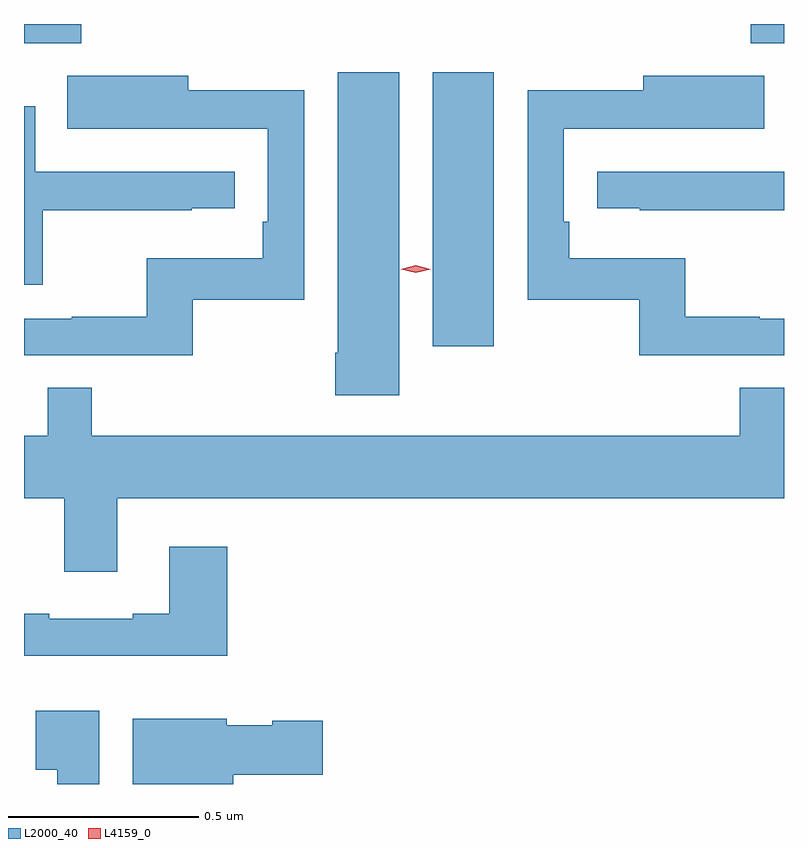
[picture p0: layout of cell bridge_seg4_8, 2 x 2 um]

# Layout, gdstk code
import gdstk
lib = gdstk.Library(unit=1e-6, precision=1e-09)
def R(c, l, rs):  # rectangles x0, y0, x1, y1
    for r in rs: c.add(gdstk.rectangle(r[:2], r[2:], *l))
def P(c, l, *ps):  # polygons
    for p in ps: c.add(gdstk.Polygon(p, *l))
L2000_40 = (2000, 40)
L4159_0 = (4159, 0)

bridge_seg4_8 = lib.new_cell('bridge_seg4_8')
R(bridge_seg4_8, L2000_40, [(1130.612,791.892,1130.773,792.613), (1129.537,792.689,1129.688,792.74), (1131.449,792.689,1131.537,792.74)])
P(bridge_seg4_8, L2000_40, [(1130.524,792.613),(1130.363,792.613),(1130.363,791.875),(1130.356,791.875),(1130.356,791.763),(1130.524,791.763)],
  [(1129.981,792.015),(1130.274,792.015),(1130.274,792.566),(1129.969,792.566),(1129.969,792.604),(1129.651,792.604),(1129.651,792.464),(1129.865,792.464),(1129.865,792.465),(1130.178,792.465),(1130.178,792.22),(1130.165,792.22),(1130.165,792.124),(1129.86,792.124),(1129.86,791.969),(1129.663,791.969),(1129.663,791.964),(1129.537,791.964),(1129.537,791.868),(1129.981,791.868)],
  [(1131.537,791.964),(1131.473,791.964),(1131.473,791.969),(1131.277,791.969),(1131.277,792.124),(1130.972,792.124),(1130.972,792.22),(1130.958,792.22),(1130.958,792.465),(1131.271,792.465),(1131.271,792.464),(1131.485,792.464),(1131.485,792.604),(1131.167,792.604),(1131.167,792.566),(1130.862,792.566),(1130.862,792.015),(1131.156,792.015),(1131.156,791.868),(1131.537,791.868)],
  [(1129.586,792.25),(1129.979,792.25),(1129.979,792.255),(1130.092,792.255),(1130.092,792.351),(1129.566,792.351),(1129.566,792.523),(1129.537,792.523),(1129.537,792.054),(1129.586,792.054)],
  [(1131.537,792.351),(1131.045,792.351),(1131.045,792.255),(1131.157,792.255),(1131.157,792.25),(1131.537,792.25)],
  [(1129.783,791.492),(1131.537,791.492),(1131.537,791.783),(1131.421,791.783),(1131.421,791.656),(1129.715,791.656),(1129.715,791.783),(1129.599,791.783),(1129.599,791.656),(1129.537,791.656),(1129.537,791.492),(1129.643,791.492),(1129.643,791.298),(1129.783,791.298)],
  [(1130.072,791.365),(1129.919,791.365),(1129.919,791.188),(1129.823,791.188),(1129.823,791.175),(1129.603,791.175),(1129.603,791.188),(1129.537,791.188),(1129.537,791.078),(1130.072,791.078)],
  [(1129.735,790.933),(1129.568,790.933),(1129.568,790.777),(1129.625,790.777),(1129.625,790.74),(1129.735,790.74)],
  [(1130.087,790.765),(1130.323,790.765),(1130.323,790.907),(1130.19,790.907),(1130.19,790.894),(1130.07,790.894),(1130.07,790.912),(1129.823,790.912),(1129.823,790.74),(1130.087,790.74)])
P(bridge_seg4_8, L4159_0, [(1130.568,792.085),(1130.528,792.094),(1130.528,792.095),(1130.528,792.095),(1130.568,792.105),(1130.608,792.095),(1130.608,792.095),(1130.608,792.094)])

lib.write_gds('bridge_seg4_8.gds')
